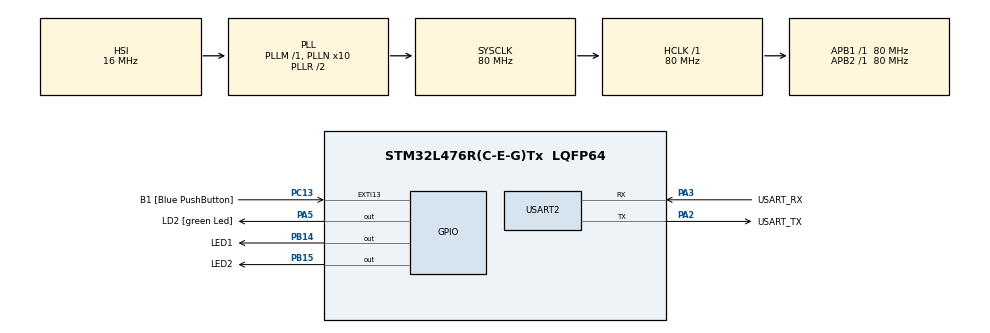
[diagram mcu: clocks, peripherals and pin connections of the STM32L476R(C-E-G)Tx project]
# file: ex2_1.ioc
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Mcu.Family=STM32L4
Mcu.Name=STM32L476R(C-E-G)Tx
Mcu.Package=LQFP64
NVIC.PriorityGroup=NVIC_PRIORITYGROUP_4
NVIC.TIM6_DAC_IRQn=true\:0\:0\:false\:false\:true\:true\:true
NVIC.USART2_IRQn=true\:0\:0\:false\:false\:true\:true\:true
PA13\ (JTMS-SWDIO).GPIO_Label=TMS
PA13\ (JTMS-SWDIO).Mode=Serial_Wire
PA13\ (JTMS-SWDIO).Signal=SYS_JTMS-SWDIO
PA14\ (JTCK-SWCLK).GPIO_Label=TCK
PA14\ (JTCK-SWCLK).Mode=Serial_Wire
PA14\ (JTCK-SWCLK).Signal=SYS_JTCK-SWCLK
PA2.GPIO_Label=USART_TX
PA2.GPIO_Mode=GPIO_MODE_AF_PP
PA2.GPIO_PuPd=GPIO_NOPULL
PA2.GPIO_Speed=GPIO_SPEED_FREQ_VERY_HIGH
PA2.Mode=Asynchronous
PA2.Signal=USART2_TX
PA3.GPIO_Label=USART_RX
PA3.GPIO_Mode=GPIO_MODE_AF_PP
PA3.GPIO_PuPd=GPIO_NOPULL
PA3.GPIO_Speed=GPIO_SPEED_FREQ_VERY_HIGH
PA3.Mode=Asynchronous
PA3.Signal=USART2_RX
PA5.GPIO_Label=LD2 [green Led]
PA5.GPIO_ModeDefaultOutputPP=GPIO_MODE_OUTPUT_PP
PA5.GPIO_PuPd=GPIO_NOPULL
PA5.GPIO_Speed=GPIO_SPEED_FREQ_LOW
PA5.Signal=GPIO_Output
PB14.GPIO_Label=LED1
PB14.Signal=GPIO_Output
PB15.GPIO_Label=LED2
PB15.Signal=GPIO_Output
PB3\ (JTDO-TRACESWO).GPIO_Label=SWO
PB3\ (JTDO-TRACESWO).Signal=SYS_JTDO-SWO
PC13.GPIO_Label=B1 [Blue PushButton]
PC13.GPIO_ModeDefaultEXTI=GPIO_MODE_IT_FALLING
PC13.GPIO_PuPd=GPIO_NOPULL
PC13.Signal=GPXTI13
PC14-OSC32_IN\ (PC14).Mode=LSE-External-Oscillator
PC14-OSC32_IN\ (PC14).Signal=RCC_OSC32_IN
PC15-OSC32_OUT\ (PC15).Mode=LSE-External-Oscillator
PC15-OSC32_OUT\ (PC15).Signal=RCC_OSC32_OUT
PH0-OSC_IN\ (PH0).Signal=RCC_OSC_IN
PH1-OSC_OUT\ (PH1).Signal=RCC_OSC_OUT
ProjectManager.HeapSize=0x200
ProjectManager.StackSize=0x400
ProjectManager.TargetToolchain=STM32CubeIDE
RCC.ADCFreq_Value=64000000
RCC.AHBFreq_Value=80000000
RCC.APB1Freq_Value=80000000
RCC.APB1TimFreq_Value=80000000
RCC.APB2Freq_Value=80000000
RCC.APB2TimFreq_Value=80000000
RCC.CortexFreq_Value=80000000
RCC.HCLKFreq_Value=80000000
RCC.HSE_VALUE=8000000
RCC.HSI_VALUE=16000000
RCC.MSI_VALUE=4000000
RCC.PLLN=10
RCC.PLLSourceVirtual=RCC_PLLSOURCE_HSI
RCC.PREFETCH_ENABLE=1
RCC.SYSCLKFreq_VALUE=80000000
RCC.SYSCLKSource=RCC_SYSCLKSOURCE_PLLCLK
RCC.USBFreq_Value=64000000
RCC.VCOOutputFreq_Value=160000000
TIM6.AutoReloadPreload=TIM_AUTORELOAD_PRELOAD_ENABLE
TIM6.Period=7999
TIM6.Prescaler=9999
USART2.VirtualMode-Asynchronous=VM_ASYNC
VP_TIM6_VS_ClockSourceINT.Mode=Enable_Timer
board=NUCLEO-L476RG

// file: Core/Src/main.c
/* USER CODE BEGIN Header */
/**
  ******************************************************************************
  * @file           : main.c
  * @brief          : Main program body
  ******************************************************************************
  * @attention
  *
  * <h2><center>&copy; Copyright (c) 2021 STMicroelectronics.
  * All rights reserved.</center></h2>
  *
  * This software component is licensed by ST under BSD 3-Clause license,
  * the "License"; You may not use this file except in compliance with the
  * License. You may obtain a copy of the License at:
  *                        opensource.org/licenses/BSD-3-Clause
  *
  ******************************************************************************
  */
/* USER CODE END Header */
#include "main.h"
#include "tim.h"
#include "usart.h"
#include "gpio.h"

/* USER CODE BEGIN Includes */
#include <stdio.h>
/* USER CODE END Includes */

/* USER CODE BEGIN PV */
volatile int flag;
/* USER CODE END PV */

void SystemClock_Config(void);
/* USER CODE BEGIN PFP */
int _write(int file, char *ptr, int len){
	HAL_UART_Transmit_IT(&huart2, ptr, len);
	return len;
}

void HAL_TIM_PeriodElapsedCallback(TIM_HandleTypeDef *htim){
	if(htim -> Instance== TIM6){
		flag=1;
	}

}

/* USER CODE END PFP */

int main(void)
{

  /* MCU Configuration--------------------------------------------------------*/

  /* Reset of all peripherals, Initializes the Flash interface and the Systick. */
  HAL_Init();

  /* USER CODE BEGIN Init */
  uint16_t cnt = 0; // Licznik wyslanych wiadomosci

  /* USER CODE END Init */

  /* Configure the system clock */
  SystemClock_Config();

  /* Initialize all configured peripherals */
  MX_GPIO_Init();
  MX_TIM6_Init();
  MX_USART2_UART_Init();
  /* USER CODE BEGIN 2 */
  HAL_TIM_Base_Start_IT(&htim6 );
  /* USER CODE END 2 */

  /* Infinite loop */
  /* USER CODE BEGIN WHILE */
  while (1)
  {
	  if(flag==1){
		 printf("Liczba wyslanych wiadomosci: %d.\r\n", cnt++);
		 HAL_GPIO_TogglePin(LED2_GPIO_Port, LED2_Pin);
		 flag=0;
	  }
	  HAL_Delay(10);
    /* USER CODE END WHILE */

  }
}

void SystemClock_Config(void)
{
  RCC_OscInitTypeDef RCC_OscInitStruct = {0};
  RCC_ClkInitTypeDef RCC_ClkInitStruct = {0};
  RCC_PeriphCLKInitTypeDef PeriphClkInit = {0};

  /** Initializes the RCC Oscillators according to the specified parameters
  * in the RCC_OscInitTypeDef structure.
  */
  RCC_OscInitStruct.OscillatorType = RCC_OSCILLATORTYPE_HSI;
  RCC_OscInitStruct.HSIState = RCC_HSI_ON;
  RCC_OscInitStruct.HSICalibrationValue = RCC_HSICALIBRATION_DEFAULT;
  RCC_OscInitStruct.PLL.PLLState = RCC_PLL_ON;
  RCC_OscInitStruct.PLL.PLLSource = RCC_PLLSOURCE_HSI;
  RCC_OscInitStruct.PLL.PLLM = 1;
  RCC_OscInitStruct.PLL.PLLN = 10;
  RCC_OscInitStruct.PLL.PLLP = RCC_PLLP_DIV7;
  RCC_OscInitStruct.PLL.PLLQ = RCC_PLLQ_DIV2;
  RCC_OscInitStruct.PLL.PLLR = RCC_PLLR_DIV2;
  if (HAL_RCC_OscConfig(&RCC_OscInitStruct) != HAL_OK)
  {
    Error_Handler();
  }
  /** Initializes the CPU, AHB and APB buses clocks
  */
  RCC_ClkInitStruct.ClockType = RCC_CLOCKTYPE_HCLK|RCC_CLOCKTYPE_SYSCLK
                              |RCC_CLOCKTYPE_PCLK1|RCC_CLOCKTYPE_PCLK2;
  RCC_ClkInitStruct.SYSCLKSource = RCC_SYSCLKSOURCE_PLLCLK;
  RCC_ClkInitStruct.AHBCLKDivider = RCC_SYSCLK_DIV1;
  RCC_ClkInitStruct.APB1CLKDivider = RCC_HCLK_DIV1;
  RCC_ClkInitStruct.APB2CLKDivider = RCC_HCLK_DIV1;

  if (HAL_RCC_ClockConfig(&RCC_ClkInitStruct, FLASH_LATENCY_4) != HAL_OK)
  {
    Error_Handler();
  }
  PeriphClkInit.PeriphClockSelection = RCC_PERIPHCLK_USART2;
  PeriphClkInit.Usart2ClockSelection = RCC_USART2CLKSOURCE_PCLK1;
  if (HAL_RCCEx_PeriphCLKConfig(&PeriphClkInit) != HAL_OK)
  {
    Error_Handler();
  }
  /** Configure the main internal regulator output voltage
  */
  if (HAL_PWREx_ControlVoltageScaling(PWR_REGULATOR_VOLTAGE_SCALE1) != HAL_OK)
  {
    Error_Handler();
  }
}

void Error_Handler(void)
{
}

/************************ (C) COPYRIGHT STMicroelectronics *****END OF FILE****/
